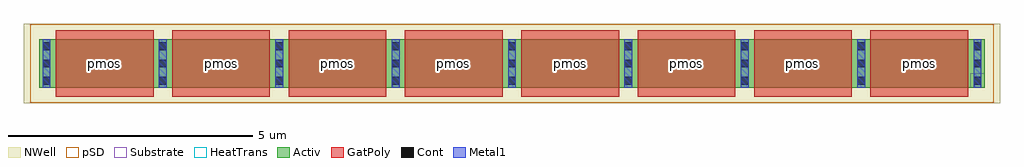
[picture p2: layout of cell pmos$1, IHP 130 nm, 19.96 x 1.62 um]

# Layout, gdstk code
import gdstk
lib = gdstk.Library(unit=1e-6, precision=1e-09)
def R(c, l, rs):  # rectangles x0, y0, x1, y1
    for r in rs: c.add(gdstk.rectangle(r[:2], r[2:], *l))
def A(c, l, x, y, w, h, nx, ny, dx, dy):  # array of equal rectangles
    R(c, l, [(x+i*dx, y+j*dy, x+i*dx+w, y+j*dy+h) for i in range(nx) for j in range(ny)])
Activ = (1, 0)
GatPoly = (5, 0)
Cont = (6, 0)
Metal1 = (8, 0)
pSD = (14, 0)
NWell = (31, 0)
Substrate = (40, 0)
HeatTrans = (51, 0)

pmos_1 = lib.new_cell('pmos$1')
A(pmos_1, Activ, 0, 0, 0.3, 0.3, 9, 1, 2.38, 0)
R(pmos_1, Activ, [(0,0,19.34,1)])
A(pmos_1, GatPoly, 0.34, -0.18, 2, 1.36, 8, 1, 2.38, 0)
R(pmos_1, GatPoly, [(0.34,-0.18,2.34,1.18)])
A(pmos_1, Cont, 0.07, 0.07, 0.16, 0.16, 9, 3, 2.38, 0.35)
A(pmos_1, Metal1, 2.45, 0, 0.16, 1, 8, 1, 2.38, 0)
R(pmos_1, Metal1, [(0.07,0,0.23,1), (0.07,0,0.23,1), (2.45,0,2.61,1)])
R(pmos_1, pSD, [(-0.18,-0.3,19.52,1.3)])
R(pmos_1, NWell, [(-0.31,-0.31,19.65,1.31)])
R(pmos_1, Substrate, [(19.04,0,19.34,0.3)])
A(pmos_1, HeatTrans, 0.34, -0.18, 2, 1.36, 8, 1, 2.38, 0)
pmos_1.add(gdstk.Label('pmos', (1.34,0.5), layer=63, texttype=0))
pmos_1.add(gdstk.Label('pmos', (1.34,0.5), layer=51, texttype=0))
pmos_1.add(gdstk.Label('pmos', (3.72,0.5), layer=51, texttype=0))
pmos_1.add(gdstk.Label('pmos', (6.1,0.5), layer=51, texttype=0))
pmos_1.add(gdstk.Label('pmos', (8.48,0.5), layer=51, texttype=0))
pmos_1.add(gdstk.Label('pmos', (10.86,0.5), layer=51, texttype=0))
pmos_1.add(gdstk.Label('pmos', (13.24,0.5), layer=51, texttype=0))
pmos_1.add(gdstk.Label('pmos', (15.62,0.5), layer=51, texttype=0))
pmos_1.add(gdstk.Label('pmos', (18,0.5), layer=51, texttype=0))

lib.write_gds('pmos_1.gds')
